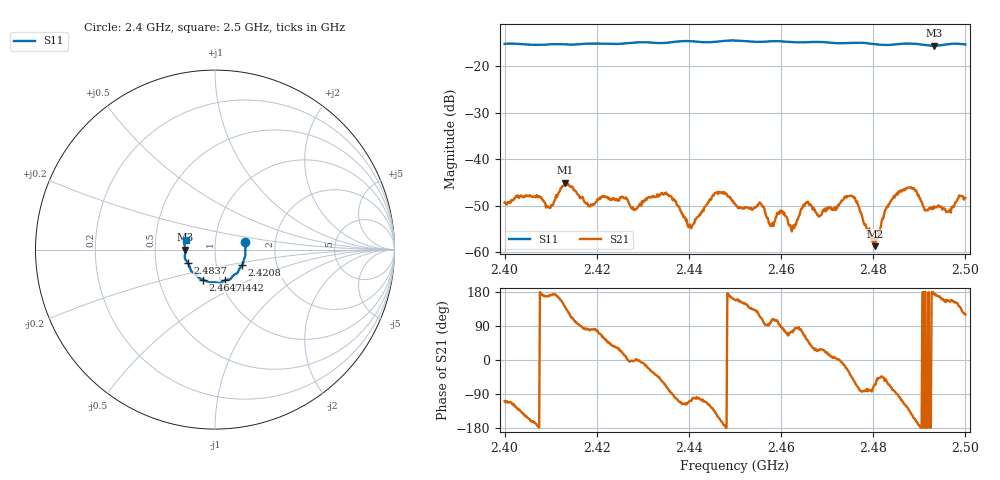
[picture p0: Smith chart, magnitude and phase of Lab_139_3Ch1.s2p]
# Hz S RI R
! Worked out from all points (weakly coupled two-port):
!   601 points, 2.4 GHz to 2.5 GHz, reference 50 ohm
!   highest |S21| = -45.07 dB at 2.4132 GHz (marker M1); lowest = -58.7 dB at 2.4803 GHz (marker M2)
!   lowest |S11| = -15.6 dB at 2.4932 GHz (marker M3), VSWR 1.40, Z = 35.8 - j0.088 ohm
!   |S11| at or under -10 dB: start of sweep to end of sweep
!   S12 and S22 are empty: the file has one direction only
!   S11 on the Smith chart (normalised r, x): 2.4 GHz: 1.40, +0.12; 2.4208 GHz: 1.33, -0.24; 2.4442 GHz: 1.05, -0.37; 2.4647 GHz: 0.83, -0.29; 2.4837 GHz: 0.73, -0.11; 2.5 GHz: 0.72, +0.08
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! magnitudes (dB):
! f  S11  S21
! 2.4 GHz  -15.2  -49.3
! 2.41 GHz  -15.3  -50.4
! 2.4132 GHz  -15.3  -45.1
! 2.4167 GHz  -15.3  -48.4
! 2.4208 GHz  -15.2  -48.5
! 2.4282 GHz  -15.0  -50.9
! 2.4333 GHz  -15.1  -48.1
! 2.4402 GHz  -14.6  -54.0
! 2.4442 GHz  -14.9  -49.3
! 2.45 GHz  -14.5  -49.7
! 2.4578 GHz  -14.7  -54.3
! 2.4603 GHz  -14.7  -51.2
! 2.4623 GHz  -14.8  -55.6
! 2.4647 GHz  -14.9  -50.4
! 2.4667 GHz  -14.8  -50.2
! 2.4755 GHz  -15.0  -48.0
! 2.4803 GHz  -15.3  -58.7
! 2.4833 GHz  -15.5  -49.8
! 2.4837 GHz  -15.5  -49.2
! 2.488 GHz  -15.2  -46.1
! 2.4932 GHz  -15.6  -50.1
! 2.5 GHz  -15.3  -48.4
